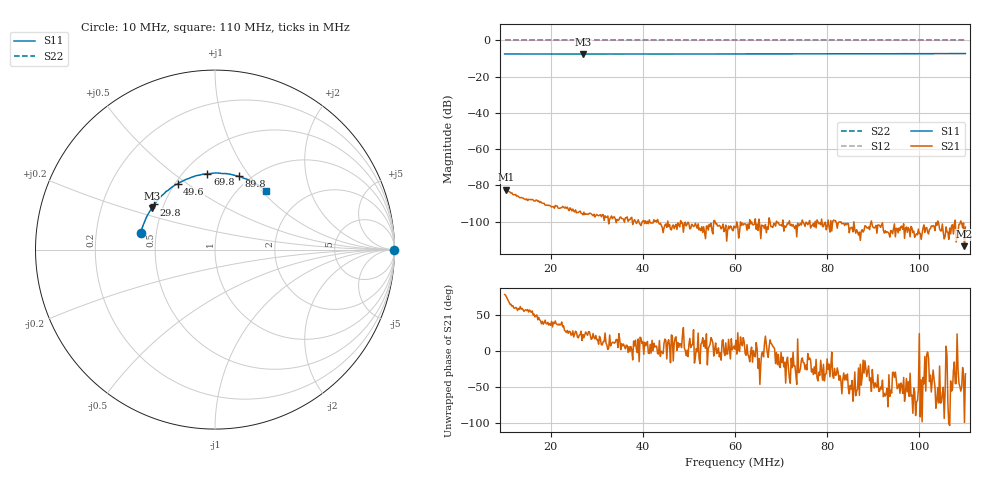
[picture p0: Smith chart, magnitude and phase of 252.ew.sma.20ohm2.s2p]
! Anritsu VNA Master:  Model: MS2036C/10/77
! SN:  1601066
! /card0/usr/20ohm2.s2p
! Existing Calibration Information:
! TYPE:  Current Settings,  Active Cal Settings
! TIME:  12/20/2017 03:51:43 PM,  12/20/2017 03:36:34 PM
! INTERNAL TEMP:  44.3 C,  44.5 C
! # POINTS:  501,  501
! START FREQ:  10.000 MHz,  10.000 MHz
! STOP FREQ:  110.000 MHz,  110.000 MHz
! SOURCE POWER:  High,  High
! IFBW:  100 Hz,  100 Hz
! AVG FACTOR:  1 ,  1
! REF PLANE 1:  0 mm,  0 mm
! REF PLANE 2:  0 mm,  0 mm
! CAL TYPE:  Full S11,  Full S11
! CAL METHOD:  SOLT,  SOLT
! CAL LINE TYPE:  Coax,  Coax
! DUT PORT 1:  K-Conn(F),  K-Conn(F)
! DUT PORT 2:  K-Conn(F),  K-Conn(F)
! CAL STATUS:  OK: Accuracy High,  --
# GHZ S DB R 50.0
! FREQ.GHZ  S11DB  S11A  S21DB  S21A  S12DB  S12A  S22DB  S22A
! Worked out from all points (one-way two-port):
!   501 points, 10 MHz to 110 MHz, reference 50 ohm
!   highest |S21| = -82.43 dB at 10.4 MHz (marker M1); lowest = -113.6 dB at 109.8 MHz (marker M2)
!   lowest |S11| = -7.5 dB at 27 MHz (marker M3), VSWR 2.45, Z = 21.9 + j12.3 ohm
!   |S11| at or under -10 dB: nowhere
!   |S22| runs from 0.0 to 0.0 dB; largest |S21 - S12| = 1
!   S11 on the Smith chart (normalised r, x): 10 MHz: 0.41, +0.09; 29.8 MHz: 0.44, +0.27; 49.6 MHz: 0.52, +0.46; 69.8 MHz: 0.65, +0.67; 89.8 MHz: 0.88, +0.89; 110 MHz: 1.31, +1.06
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0.01  -7.46 167.5  -82.72 78.8  0.00 0.0  0.00 0.0
0.0104  -7.45 167.1  -82.43 75.3  0.00 0.0  0.00 0.0
0.0142  -7.46 162.4  -87.42 55.2  0.00 0.0  0.00 0.0
0.0208  -7.48 154.2  -92.65 38.4  0.00 0.0  0.00 0.0
0.0268  -7.52 146.9  -95.60 14.7  0.00 0.0  0.00 0.0
0.027  -7.52 146.6  -96.31 23.0  0.00 0.0  0.00 0.0
0.0298  -7.50 143.4  -96.66 21.8  0.00 0.0  0.00 0.0
0.0366  -7.48 135.0  -97.42 7.9  0.00 0.0  0.00 0.0
0.0434  -7.50 126.8  -100.55 -4.3  0.00 0.0  0.00 0.0
0.0496  -7.51 119.6  -101.57 1.3  0.00 0.0  0.00 0.0
0.0544  -7.46 113.6  -101.55 6.4  0.00 0.0  0.00 0.0
0.06  -7.46 107.1  -103.33 2.5  0.00 0.0  0.00 0.0
0.0668  -7.42 99.1  -106.19 8.7  0.00 0.0  0.00 0.0
0.0698  -7.42 95.7  -102.08 -23.0  0.00 0.0  0.00 0.0
0.0768  -7.40 87.5  -102.23 -25.0  0.00 0.0  0.00 0.0
0.0824  -7.36 80.7  -100.63 -30.0  0.00 0.0  0.00 0.0
0.0898  -7.34 72.2  -102.18 -25.7  0.00 0.0  0.00 0.0
0.0934  -7.35 68.0  -106.60 -33.0  0.00 0.0  0.00 0.0
0.0964  -7.31 64.6  -104.26 -59.0  0.00 0.0  0.00 0.0
0.1032  -7.28 56.7  -102.62 -39.6  0.00 0.0  0.00 0.0
0.1098  -7.26 49.2  -113.61 -99.7  0.00 0.0  0.00 0.0
0.11  -7.25 49.0  -103.05 -31.7  0.00 0.0  0.00 0.0
